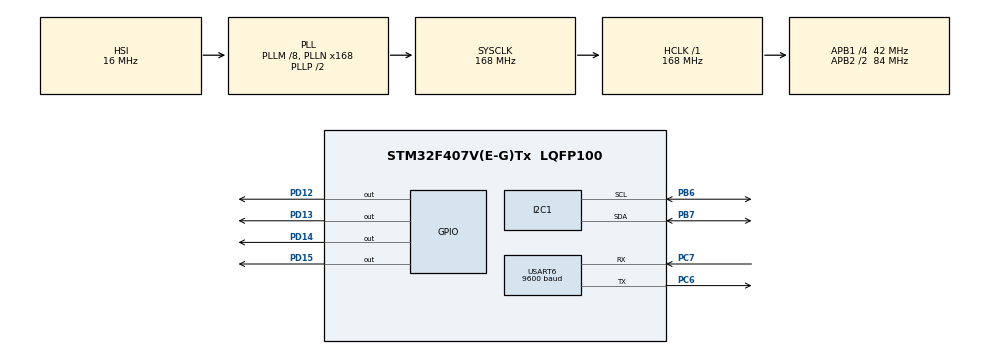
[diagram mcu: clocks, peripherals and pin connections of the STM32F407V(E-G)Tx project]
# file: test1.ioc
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Mcu.Family=STM32F4
Mcu.Name=STM32F407V(E-G)Tx
Mcu.Package=LQFP100
NVIC.I2C1_EV_IRQn=true\:0\:0\:false\:false\:true\:true\:true\:true
NVIC.PriorityGroup=NVIC_PRIORITYGROUP_0
NVIC.TIM1_UP_TIM10_IRQn=true\:0\:0\:false\:false\:true\:false\:true\:true
NVIC.TimeBase=TIM1_UP_TIM10_IRQn
NVIC.TimeBaseIP=TIM1
NVIC.USART6_IRQn=true\:0\:0\:false\:false\:true\:true\:true\:true
PA13.Mode=Serial_Wire
PA13.Signal=SYS_JTMS-SWDIO
PA14.Mode=Serial_Wire
PA14.Signal=SYS_JTCK-SWCLK
PB6.Mode=I2C
PB6.Signal=I2C1_SCL
PB7.Mode=I2C
PB7.Signal=I2C1_SDA
PC6.Mode=Asynchronous
PC6.Signal=USART6_TX
PC7.Mode=Asynchronous
PC7.Signal=USART6_RX
PD12.Signal=GPIO_Output
PD13.Signal=GPIO_Output
PD14.Signal=GPIO_Output
PD15.Signal=GPIO_Output
PH0-OSC_IN.Mode=HSE-External-Oscillator
PH0-OSC_IN.Signal=RCC_OSC_IN
PH1-OSC_OUT.Mode=HSE-External-Oscillator
PH1-OSC_OUT.Signal=RCC_OSC_OUT
ProjectManager.HeapSize=0x200
ProjectManager.StackSize=0x400
ProjectManager.TargetToolchain=STM32CubeIDE
RCC.48MHZClocksFreq_Value=48000000
RCC.AHBFreq_Value=168000000
RCC.APB1CLKDivider=RCC_HCLK_DIV4
RCC.APB1Freq_Value=42000000
RCC.APB1TimFreq_Value=84000000
RCC.APB2CLKDivider=RCC_HCLK_DIV2
RCC.APB2Freq_Value=84000000
RCC.APB2TimFreq_Value=168000000
RCC.CortexFreq_Value=168000000
RCC.HCLKFreq_Value=168000000
RCC.HSE_VALUE=8000000
RCC.HSI_VALUE=16000000
RCC.LSE_VALUE=32768
RCC.PLLM=8
RCC.PLLN=168
RCC.PLLQ=7
RCC.SYSCLKFreq_VALUE=168000000
RCC.SYSCLKSource=RCC_SYSCLKSOURCE_PLLCLK
RCC.VCOOutputFreq_Value=336000000
USART6.BaudRate=9600
USART6.VirtualMode=VM_ASYNC
VP_SYS_VS_tim1.Mode=TIM1
board=STM32F407G-DISC1

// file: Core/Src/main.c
/* USER CODE BEGIN Header */
/**
  ******************************************************************************
  * @file           : main.c
  * @brief          : Main program body
  ******************************************************************************
  * @attention
  *
  * <h2><center>&copy; Copyright (c) 2024 STMicroelectronics.
  * All rights reserved.</center></h2>
  *
  * This software component is licensed by ST under BSD 3-Clause license,
  * the "License"; You may not use this file except in compliance with the
  * License. You may obtain a copy of the License at:
  *                        opensource.org/licenses/BSD-3-Clause
  *
  ******************************************************************************
  */
/* USER CODE END Header */
#include "main.h"
#include "i2c-lcd.h"

I2C_HandleTypeDef hi2c1;

UART_HandleTypeDef huart6;

/* USER CODE BEGIN PV */
char rx[1];
/* USER CODE END PV */

void SystemClock_Config(void);
static void MX_GPIO_Init(void);
static void MX_USART6_UART_Init(void);
static void MX_I2C1_Init(void);

int main(void)
{

  /* MCU Configuration--------------------------------------------------------*/

  /* Reset of all peripherals, Initializes the Flash interface and the Systick. */
  HAL_Init();

  /* Configure the system clock */
  SystemClock_Config();

  /* Initialize all configured peripherals */
  MX_GPIO_Init();
  MX_USART6_UART_Init();
  MX_I2C1_Init();
  /* USER CODE BEGIN 2 */
  lcd_init ();

  /* USER CODE END 2 */

  /* Infinite loop */
  /* USER CODE BEGIN WHILE */
  while (1)
  {
	  HAL_UART_Receive(&huart6, (uint8_t *)rx, sizeof(rx), 500);
	  if (rx[0]=='F')
	 {

		  HAL_GPIO_WritePin(GPIOD, GPIO_PIN_13, 1); // Moteur A
		  HAL_GPIO_WritePin(GPIOD, GPIO_PIN_12, 0);  // Moteur A
		  HAL_GPIO_WritePin(GPIOD, GPIO_PIN_14, 0);  // Moteur B
		  HAL_GPIO_WritePin(GPIOD, GPIO_PIN_15, 1);  // Moteur B
		  lcd_put_cur(0, 5);
		  lcd_send_string ("FORWARD");

	 }

	  else if (rx[0]=='S')
	   {
		  HAL_GPIO_WritePin(GPIOD, GPIO_PIN_12, 0);
		  HAL_GPIO_WritePin(GPIOD, GPIO_PIN_13, 0);
		  HAL_GPIO_WritePin(GPIOD, GPIO_PIN_14, 0);
		  HAL_GPIO_WritePin(GPIOD, GPIO_PIN_15, 0);
	 }
	  else if (rx[0]=='B')
	  	   {
	  		  HAL_GPIO_WritePin(GPIOD, GPIO_PIN_13, 0);
	  		  HAL_GPIO_WritePin(GPIOD, GPIO_PIN_12, 1);
	  		  HAL_GPIO_WritePin(GPIOD, GPIO_PIN_14, 1);
	  		  HAL_GPIO_WritePin(GPIOD, GPIO_PIN_15, 0);
			  lcd_put_cur(0, 5);
			  lcd_send_string ("BACK   ");
	  	 }
	  else if (rx[0]=='L')
	  	   {

	  		  HAL_GPIO_WritePin(GPIOD, GPIO_PIN_14, 0);
	  		  HAL_GPIO_WritePin(GPIOD, GPIO_PIN_15, 1);
			  lcd_put_cur(0, 5);
			  lcd_send_string ("LEFT   ");
	  	 }
	  else if (rx[0]=='R')
		  	   {

		  		  HAL_GPIO_WritePin(GPIOD, GPIO_PIN_13, 1);
		  		  HAL_GPIO_WritePin(GPIOD, GPIO_PIN_12, 0);
				  lcd_put_cur(0, 5);
				  lcd_send_string ("RIGHT  ");
		  	 }

rx[0]=0;

    /* USER CODE END WHILE */

  }
}

void SystemClock_Config(void)
{
  RCC_OscInitTypeDef RCC_OscInitStruct = {0};
  RCC_ClkInitTypeDef RCC_ClkInitStruct = {0};

  /** Configure the main internal regulator output voltage
  */
  __HAL_RCC_PWR_CLK_ENABLE();
  __HAL_PWR_VOLTAGESCALING_CONFIG(PWR_REGULATOR_VOLTAGE_SCALE1);

  /** Initializes the RCC Oscillators according to the specified parameters
  * in the RCC_OscInitTypeDef structure.
  */
  RCC_OscInitStruct.OscillatorType = RCC_OSCILLATORTYPE_HSI;
  RCC_OscInitStruct.HSIState = RCC_HSI_ON;
  RCC_OscInitStruct.HSICalibrationValue = RCC_HSICALIBRATION_DEFAULT;
  RCC_OscInitStruct.PLL.PLLState = RCC_PLL_ON;
  RCC_OscInitStruct.PLL.PLLSource = RCC_PLLSOURCE_HSI;
  RCC_OscInitStruct.PLL.PLLM = 8;
  RCC_OscInitStruct.PLL.PLLN = 168;
  RCC_OscInitStruct.PLL.PLLP = RCC_PLLP_DIV2;
  RCC_OscInitStruct.PLL.PLLQ = 7;
  if (HAL_RCC_OscConfig(&RCC_OscInitStruct) != HAL_OK)
  {
    Error_Handler();
  }

  /** Initializes the CPU, AHB and APB buses clocks
  */
  RCC_ClkInitStruct.ClockType = RCC_CLOCKTYPE_HCLK|RCC_CLOCKTYPE_SYSCLK
                              |RCC_CLOCKTYPE_PCLK1|RCC_CLOCKTYPE_PCLK2;
  RCC_ClkInitStruct.SYSCLKSource = RCC_SYSCLKSOURCE_PLLCLK;
  RCC_ClkInitStruct.AHBCLKDivider = RCC_SYSCLK_DIV1;
  RCC_ClkInitStruct.APB1CLKDivider = RCC_HCLK_DIV4;
  RCC_ClkInitStruct.APB2CLKDivider = RCC_HCLK_DIV2;

  if (HAL_RCC_ClockConfig(&RCC_ClkInitStruct, FLASH_LATENCY_5) != HAL_OK)
  {
    Error_Handler();
  }
}

static void MX_I2C1_Init(void)
{

  hi2c1.Instance = I2C1;
  hi2c1.Init.ClockSpeed = 100000;
  hi2c1.Init.DutyCycle = I2C_DUTYCYCLE_2;
  hi2c1.Init.OwnAddress1 = 0;
  hi2c1.Init.AddressingMode = I2C_ADDRESSINGMODE_7BIT;
  hi2c1.Init.DualAddressMode = I2C_DUALADDRESS_DISABLE;
  hi2c1.Init.OwnAddress2 = 0;
  hi2c1.Init.GeneralCallMode = I2C_GENERALCALL_DISABLE;
  hi2c1.Init.NoStretchMode = I2C_NOSTRETCH_DISABLE;
  if (HAL_I2C_Init(&hi2c1) != HAL_OK)
  {
    Error_Handler();
  }

}

static void MX_USART6_UART_Init(void)
{

  huart6.Instance = USART6;
  huart6.Init.BaudRate = 9600;
  huart6.Init.WordLength = UART_WORDLENGTH_8B;
  huart6.Init.StopBits = UART_STOPBITS_1;
  huart6.Init.Parity = UART_PARITY_NONE;
  huart6.Init.Mode = UART_MODE_TX_RX;
  huart6.Init.HwFlowCtl = UART_HWCONTROL_NONE;
  huart6.Init.OverSampling = UART_OVERSAMPLING_16;
  if (HAL_UART_Init(&huart6) != HAL_OK)
  {
    Error_Handler();
  }

}

static void MX_GPIO_Init(void)
{
  GPIO_InitTypeDef GPIO_InitStruct = {0};

  /* GPIO Ports Clock Enable */
  __HAL_RCC_GPIOH_CLK_ENABLE();
  __HAL_RCC_GPIOD_CLK_ENABLE();
  __HAL_RCC_GPIOC_CLK_ENABLE();
  __HAL_RCC_GPIOA_CLK_ENABLE();
  __HAL_RCC_GPIOB_CLK_ENABLE();

  /*Configure GPIO pin Output Level */
  HAL_GPIO_WritePin(GPIOD, GPIO_PIN_12|GPIO_PIN_13|GPIO_PIN_14|GPIO_PIN_15, GPIO_PIN_RESET);

  /*Configure GPIO pins : PD12 PD13 PD14 PD15 */
  GPIO_InitStruct.Pin = GPIO_PIN_12|GPIO_PIN_13|GPIO_PIN_14|GPIO_PIN_15;
  GPIO_InitStruct.Mode = GPIO_MODE_OUTPUT_PP;
  GPIO_InitStruct.Pull = GPIO_NOPULL;
  GPIO_InitStruct.Speed = GPIO_SPEED_FREQ_LOW;
  HAL_GPIO_Init(GPIOD, &GPIO_InitStruct);

}

void HAL_TIM_PeriodElapsedCallback(TIM_HandleTypeDef *htim)
{
  if (htim->Instance == TIM1) {
    HAL_IncTick();
  }
}

void Error_Handler(void)
{
  __disable_irq();
  while (1)
  {
  }
}
